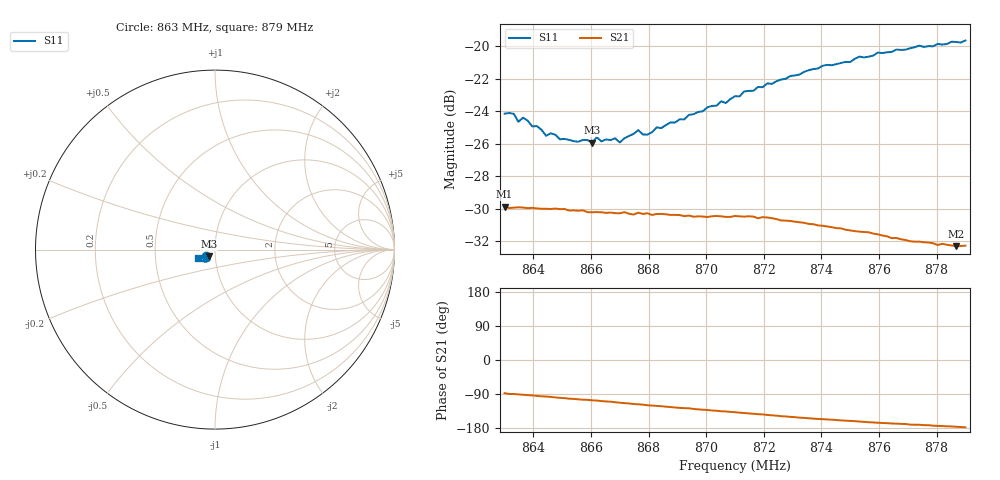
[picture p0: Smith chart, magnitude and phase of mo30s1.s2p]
# HZ S RI R 50
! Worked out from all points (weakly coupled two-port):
!   101 points, 863 MHz to 879 MHz, reference 50 ohm
!   highest |S21| = -29.89 dB at 863 MHz (marker M1); lowest = -32.3 dB at 878.68 MHz (marker M2)
!   lowest |S11| = -25.9 dB at 866.04 MHz (marker M3), VSWR 1.11, Z = 46.7 - j3.58 ohm
!   |S11| at or under -10 dB: start of sweep to end of sweep
!   S12 and S22 are empty: the file has one direction only
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8.63e8  -0.0505 -0.0359  0.00134 -0.032  0 0  0 0
8.6332e8  -0.0501 -0.0364  0.000215 -0.0318  0 0  0 0
8.6348e8  -0.0456 -0.0367  -0.000458 -0.0319  0 0  0 0
8.6364e8  -0.0484 -0.036  -0.000956 -0.0318  0 0  0 0
8.6444e8  -0.0406 -0.034  -0.00353 -0.0314  0 0  0 0
8.646e8  -0.0407 -0.0354  -0.004 -0.0313  0 0  0 0
8.6492e8  -0.0378 -0.0352  -0.00541 -0.031  0 0  0 0
8.6572e8  -0.0335 -0.0391  -0.00793 -0.0302  0 0  0 0
8.6604e8  -0.0329 -0.0382  -0.00872 -0.0295  0 0  0 0
8.662e8  -0.0341 -0.0399  -0.00898 -0.0295  0 0  0 0
8.6636e8  -0.0319 -0.0398  -0.00974 -0.0292  0 0  0 0
8.6684e8  -0.0309 -0.0419  -0.0112 -0.0285  0 0  0 0
8.67e8  -0.0293 -0.0412  -0.0118 -0.0282  0 0  0 0
8.6764e8  -0.0297 -0.0465  -0.0139 -0.0274  0 0  0 0
8.6796e8  -0.0278 -0.0456  -0.015 -0.0266  0 0  0 0
8.6844e8  -0.0277 -0.0486  -0.0161 -0.0258  0 0  0 0
8.7068e8  -0.033 -0.0582  -0.0213 -0.0208  0 0  0 0
8.71e8  -0.0345 -0.0612  -0.0222 -0.0202  0 0  0 0
8.7372e8  -0.0512 -0.068  -0.0256 -0.0121  0 0  0 0
8.7644e8  -0.0746 -0.0606  -0.025 -0.00555  0 0  0 0
8.7868e8  -0.0918 -0.0471  -0.0241 -0.00163  0 0  0 0
8.79e8  -0.0945 -0.0442  -0.0243 -0.000981  0 0  0 0
